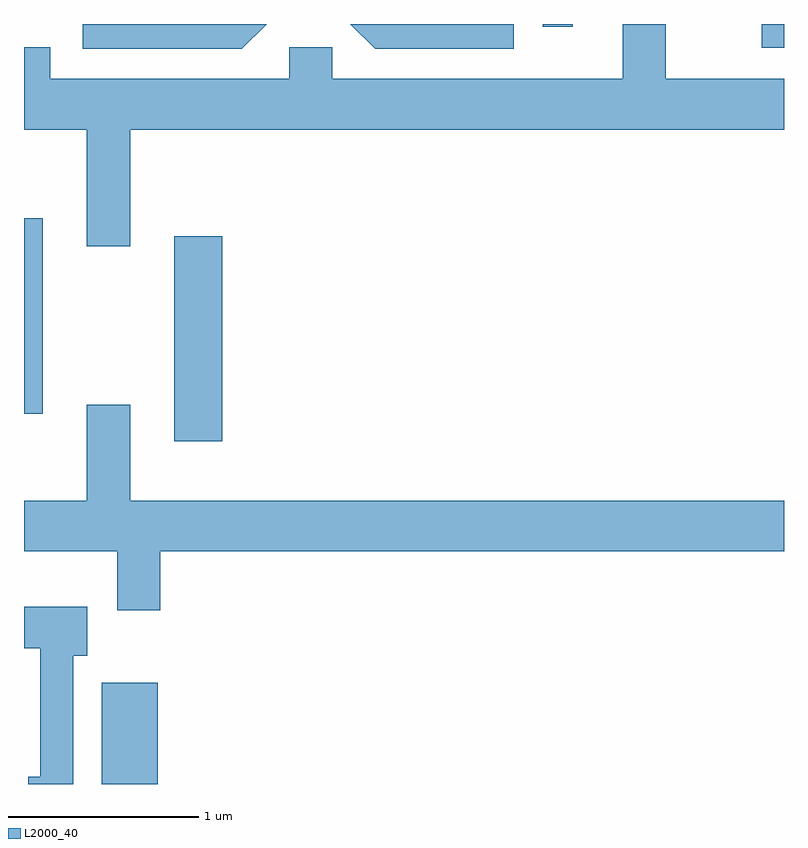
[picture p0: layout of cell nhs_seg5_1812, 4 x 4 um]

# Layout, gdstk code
import gdstk
lib = gdstk.Library(unit=1e-6, precision=1e-09)
def R(c, l, rs):  # rectangles x0, y0, x1, y1
    for r in rs: c.add(gdstk.rectangle(r[:2], r[2:], *l))
def P(c, l, *ps):  # polygons
    for p in ps: c.add(gdstk.Polygon(p, *l))
L2000_40 = (2000, 40)

nhs_seg5_1812 = lib.new_cell('nhs_seg5_1812')
R(nhs_seg5_1812, L2000_40, [(240.021,1400.072,240.314,1400.604), (240.401,1401.876,240.654,1402.954), (239.611,1402.021,239.709,1403.049), (243.493,1403.946,243.611,1404.072), (242.341,1404.058,242.499,1404.072)])
P(nhs_seg5_1812, L2000_40, [(240.169,1403.516),(243.611,1403.516),(243.611,1403.784),(242.989,1403.784),(242.989,1404.072),(242.761,1404.072),(242.761,1403.784),(241.234,1403.784),(241.234,1403.949),(241.006,1403.949),(241.006,1403.784),(239.749,1403.784),(239.749,1403.949),(239.611,1403.949),(239.611,1403.516),(239.941,1403.516),(239.941,1402.901),(240.169,1402.901)],
  [(240.888,1404.072),(239.921,1404.072),(239.921,1403.941),(240.757,1403.941)],
  [(242.189,1404.072),(241.328,1404.072),(241.459,1403.941),(242.189,1403.941)],
  [(240.329,1401.296),(243.611,1401.296),(243.611,1401.564),(240.169,1401.564),(240.169,1402.069),(239.941,1402.069),(239.941,1401.564),(239.611,1401.564),(239.611,1401.296),(240.101,1401.296),(240.101,1400.986),(240.329,1400.986)],
  [(239.869,1400.746),(239.944,1400.746),(239.944,1401.004),(239.611,1401.004),(239.611,1400.786),(239.696,1400.786),(239.696,1400.109),(239.633,1400.109),(239.633,1400.072),(239.869,1400.072)])

lib.write_gds('nhs_seg5_1812.gds')
